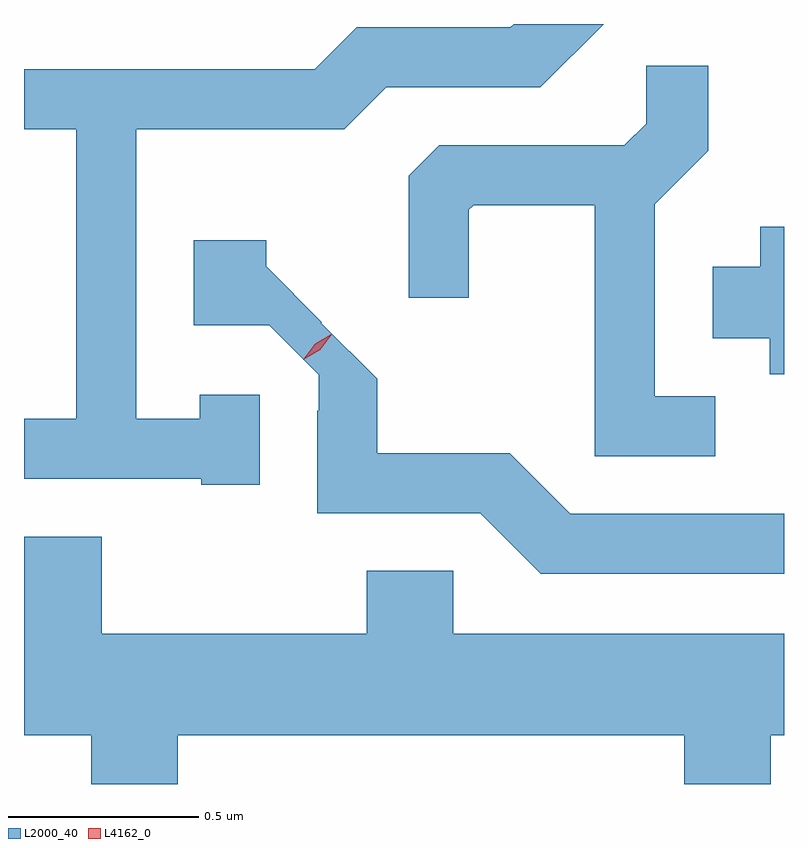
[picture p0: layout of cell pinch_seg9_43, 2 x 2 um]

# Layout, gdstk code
import gdstk
lib = gdstk.Library(unit=1e-6, precision=1e-09)
def P(c, l, *ps):  # polygons
    for p in ps: c.add(gdstk.Polygon(p, *l))
L2000_40 = (2000, 40)
L4162_0 = (4162, 0)

pinch_seg9_43 = lib.new_cell('pinch_seg9_43')
P(pinch_seg9_43, L2000_40, [(639.044,2050.433),(638.886,2050.433),(638.886,2050.369),(638.719,2050.369),(638.719,2051.131),(639.267,2051.131),(639.377,2051.241),(639.782,2051.241),(639.949,2051.408),(639.713,2051.408),(639.704,2051.399),(639.299,2051.399),(639.189,2051.289),(638.424,2051.289),(638.424,2051.131),(638.561,2051.131),(638.561,2050.369),(638.424,2050.369),(638.424,2050.211),(638.89,2050.211),(638.89,2050.196),(639.044,2050.196)],
  [(640.243,2050.429),(640.084,2050.429),(640.084,2050.934),(640.224,2051.074),(640.224,2051.298),(640.061,2051.298),(640.061,2051.146),(640.004,2051.089),(639.517,2051.089),(639.436,2051.009),(639.436,2050.688),(639.594,2050.688),(639.594,2050.919),(639.607,2050.931),(639.926,2050.931),(639.926,2050.271),(640.243,2050.271)],
  [(640.424,2050.874),(640.361,2050.874),(640.361,2050.769),(640.236,2050.769),(640.236,2050.581),(640.386,2050.581),(640.386,2050.486),(640.424,2050.486)],
  [(640.424,2050.119),(639.862,2050.119),(639.702,2050.279),(639.354,2050.279),(639.354,2050.474),(639.206,2050.621),(639.208,2050.623),(639.061,2050.77),(639.061,2050.839),(638.871,2050.839),(638.871,2050.615),(639.07,2050.615),(639.2,2050.485),(639.2,2050.39),(639.196,2050.39),(639.196,2050.121),(639.624,2050.121),(639.784,2049.961),(640.424,2049.961)],
  [(638.829,2049.536),(640.161,2049.536),(640.161,2049.408),(640.389,2049.408),(640.389,2049.536),(640.424,2049.536),(640.424,2049.804),(639.554,2049.804),(639.554,2049.969),(639.326,2049.969),(639.326,2049.804),(638.629,2049.804),(638.629,2050.059),(638.424,2050.059),(638.424,2049.536),(638.601,2049.536),(638.601,2049.408),(638.829,2049.408)])
P(pinch_seg9_43, L4162_0, [(639.159,2050.524),(639.159,2050.525),(639.19,2050.566),(639.233,2050.592),(639.234,2050.592),(639.234,2050.591),(639.203,2050.551),(639.159,2050.524)],
  [(639.162,2050.528),(639.162,2050.528),(639.19,2050.566),(639.23,2050.589),(639.23,2050.589),(639.23,2050.588),(639.203,2050.551),(639.163,2050.528)])

lib.write_gds('pinch_seg9_43.gds')
